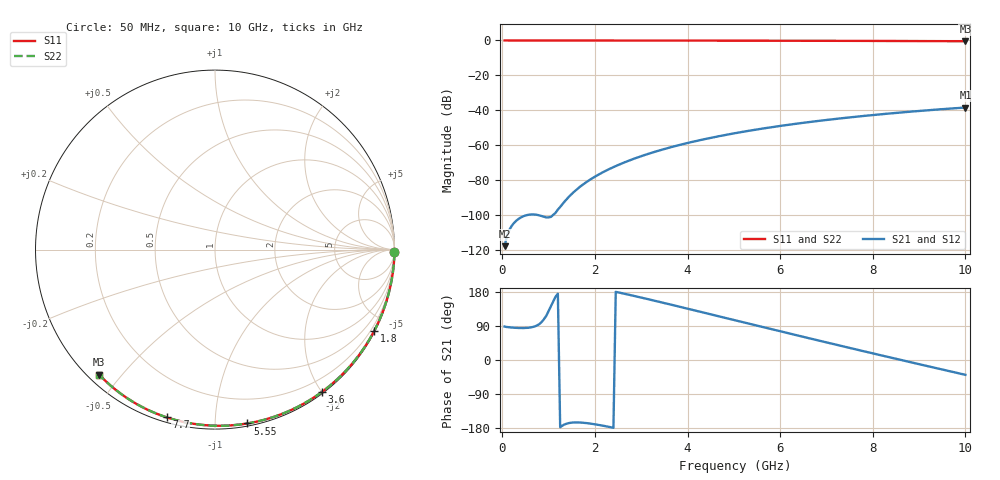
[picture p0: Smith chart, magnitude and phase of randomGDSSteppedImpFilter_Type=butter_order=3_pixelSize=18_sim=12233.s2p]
! freq	dB(S11)	phase(S11)	dB(S12)	phase(S12)
!  dB(S21)	phase(S21)	dB(S22)	phase(S22)
!S-par simulation data
#  GHz  S  DB  R 50
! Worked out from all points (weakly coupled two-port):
!   200 points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, 50 MHz to 10 GHz, reference 50 ohm
!   highest |S21| = -38.33 dB at 10 GHz (marker M1); lowest = -117.6 dB at 50 MHz (marker M2)
!   lowest |S11| = -0.4 dB at 10 GHz (marker M3), VSWR 38.71, Z = 1.54 - j21.8 ohm
!   |S11| at or under -10 dB: nowhere
!   |S22| runs from -0.4 to 0.0 dB; largest |S21 - S12| = 0
!   S11 on the Smith chart (normalised r, x): 50 MHz: open; 1.8 GHz: 0.04, -4.13; 3.6 GHz: 0.02, -2.00; 5.55 GHz: 0.02, -1.20; 7.7 GHz: 0.02, -0.75; 10 GHz: 0.03, -0.44
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0.05  -0.00 -0.8  -117.62 88.3  -117.62 88.3  -0.00 -0.8
0.9  -0.02 -13.7  -100.85 107.8  -100.85 107.8  -0.02 -13.7
1.75  -0.03 -26.5  -82.22 -165.6  -82.22 -165.6  -0.03 -26.5
1.8  -0.03 -27.2  -81.27 -166.2  -81.27 -166.2  -0.03 -27.2
1.85  -0.04 -28.0  -80.38 -167.0  -80.38 -167.0  -0.04 -28.0
1.9  -0.04 -28.7  -79.51 -167.8  -79.51 -167.8  -0.04 -28.7
2.05  -0.04 -30.9  -77.12 -170.7  -77.12 -170.7  -0.04 -30.9
2.25  -0.04 -33.9  -74.30 -175.2  -74.30 -175.2  -0.04 -33.9
2.45  -0.05 -36.8  -71.81 179.8  -71.81 179.8  -0.05 -36.8
2.65  -0.05 -39.7  -69.58 174.5  -69.58 174.5  -0.05 -39.7
3  -0.06 -44.7  -66.16 164.8  -66.16 164.8  -0.06 -44.7
3.4  -0.07 -50.4  -62.82 153.2  -62.82 153.2  -0.07 -50.4
3.6  -0.07 -53.2  -61.33 147.3  -61.33 147.3  -0.07 -53.2
4.3  -0.09 -62.9  -56.82 126.6  -56.82 126.6  -0.09 -62.9
5.05  -0.11 -72.9  -52.90 104.1  -52.90 104.1  -0.11 -72.9
5.55  -0.13 -79.5  -50.67 89.2  -50.67 89.2  -0.13 -79.5
6.1  -0.15 -86.5  -48.50 72.9  -48.50 72.9  -0.15 -86.5
6.7  -0.18 -94.0  -46.41 55.2  -46.41 55.2  -0.18 -94.0
7.7  -0.24 -106.1  -43.44 26.1  -43.44 26.1  -0.24 -106.1
8.35  -0.29 -113.8  -41.79 7.4  -41.79 7.4  -0.29 -113.8
9.15  -0.36 -123.1  -39.99 -15.2  -39.99 -15.2  -0.36 -123.1
10  -0.45 -132.8  -38.33 -39.1  -38.33 -39.1  -0.45 -132.8
